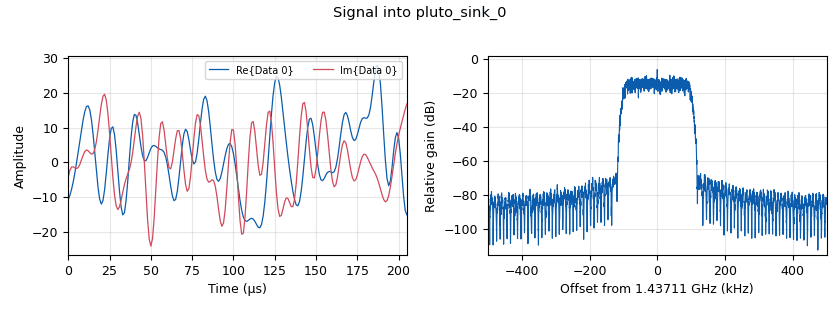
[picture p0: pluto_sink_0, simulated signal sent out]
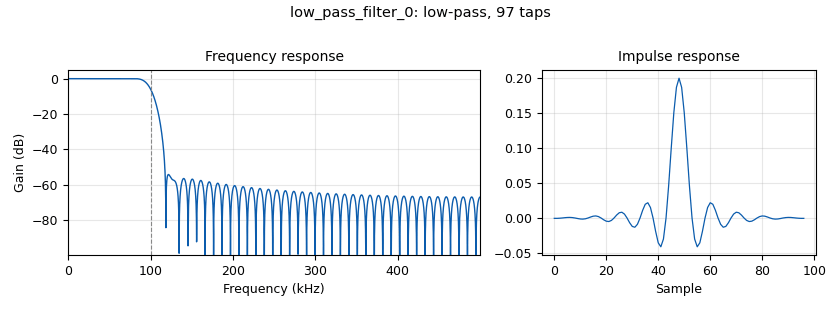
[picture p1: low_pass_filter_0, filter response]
<?xml version='1.0' encoding='utf-8'?>
<?grc format='1' created='3.7.13'?>
<flow_graph>
<block>
<key>options</key>
<param><key>id</key><value>NsfTest</value></param>
<param><key>author</key><value>Glen Langston</value></param>
<param><key>description</key><value>Diagnostic test design</value></param>
<param><key>generate_options</key><value>qt_gui</value></param>
<param><key>title</key><value>Test Signal.  Adds a tone in 1 MHz band</value></param>
</block>
<block>
<key>variable_qtgui_entry</key>
<param><key>id</key><value>Attn1</value></param>
<param><key>value</key><value>80</value></param>
<param><key>gui_hint</key><value>1,0,1,2</value></param>
<param><key>label</key><value>Attn1</value></param>
<param><key>type</key><value>real</value></param>
</block>
<block>
<key>variable</key>
<param><key>id</key><value>Bandwidth</value></param>
<param><key>value</key><value>1.e6</value></param>
</block>
<block>
<key>variable_qtgui_entry</key>
<param><key>id</key><value>FreqMHz</value></param>
<param><key>value</key><value>1437</value></param>
<param><key>gui_hint</key><value>0,2,1,2</value></param>
<param><key>label</key><value>Freq (MHz)</value></param>
<param><key>type</key><value>real</value></param>
</block>
<block>
<key>variable</key>
<param><key>id</key><value>Frequency</value></param>
<param><key>value</key><value>FreqMHz*1.E6</value></param>
</block>
<block>
<key>variable_qtgui_entry</key>
<param><key>id</key><value>Gain1</value></param>
<param><key>value</key><value>75</value></param>
<param><key>gui_hint</key><value>0,0,1,2</value></param>
<param><key>label</key><value>Gain1</value></param>
<param><key>type</key><value>real</value></param>
</block>
<block>
<key>variable</key>
<param><key>id</key><value>H1</value></param>
<param><key>value</key><value>1420.406E6</value></param>
</block>
<block>
<key>variable</key>
<param><key>id</key><value>Offset</value></param>
<param><key>value</key><value>OffsetMHz*1.E6</value></param>
</block>
<block>
<key>variable_qtgui_entry</key>
<param><key>id</key><value>OffsetMHz</value></param>
<param><key>value</key><value>0.111</value></param>
<param><key>gui_hint</key><value>1,2,1,2</value></param>
<param><key>label</key><value>OffsetMHz)</value></param>
<param><key>type</key><value>real</value></param>
</block>
<block>
<key>variable</key>
<param><key>id</key><value>fftsize</value></param>
<param><key>value</key><value>1024</value></param>
</block>
<block>
<key>variable</key>
<param><key>id</key><value>samp_rate</value></param>
<param><key>value</key><value>int(Bandwidth)</value></param>
</block>
<block>
<key>analog_noise_source_x</key>
<param><key>id</key><value>analog_noise_source_x_0</value></param>
<param><key>amp</key><value>30</value></param>
<param><key>noise_type</key><value>analog.GR_GAUSSIAN</value></param>
<param><key>type</key><value>complex</value></param>
<param><key>seed</key><value>0</value></param>
</block>
<block>
<key>blocks_add_const_vxx</key>
<param><key>id</key><value>blocks_add_const_vxx_0</value></param>
<param><key>const</key><value>1</value></param>
<param><key>type</key><value>complex</value></param>
</block>
<block>
<key>blocks_complex_to_float</key>
<param><key>id</key><value>blocks_complex_to_float_0</value></param>
</block>
<block>
<key>blocks_complex_to_mag</key>
<param><key>id</key><value>blocks_complex_to_mag_0</value></param>
<param><key>vlen</key><value>fftsize</value></param>
</block>
<block>
<key>blocks_stream_to_vector</key>
<param><key>id</key><value>blocks_stream_to_vector_0_0</value></param>
<param><key>type</key><value>complex</value></param>
<param><key>num_items</key><value>fftsize</value></param>
</block>
<block>
<key>fft_vxx</key>
<param><key>id</key><value>fft_vxx_0</value></param>
<param><key>fft_size</key><value>fftsize</value></param>
<param><key>forward</key><value>True</value></param>
<param><key>type</key><value>complex</value></param>
<param><key>shift</key><value>True</value></param>
<param><key>window</key><value>window.hamming(fftsize)</value></param>
</block>
<block>
<key>low_pass_filter</key>
<param><key>id</key><value>low_pass_filter_0</value></param>
<param><key>cutoff_freq</key><value>.1E6</value></param>
<param><key>decim</key><value>1</value></param>
<param><key>type</key><value>fir_filter_ccf</value></param>
<param><key>gain</key><value>1</value></param>
<param><key>samp_rate</key><value>Bandwidth</value></param>
<param><key>width</key><value>.025E6</value></param>
<param><key>win</key><value>firdes.WIN_HAMMING</value></param>
</block>
<block>
<key>pluto_sink</key>
<param><key>id</key><value>pluto_sink_0</value></param>
<param><key>attenuation</key><value>float(Attn1)</value></param>
<param><key>buffer_size</key><value>0x8000</value></param>
<param><key>cyclic</key><value>False</value></param>
<param><key>auto_filter</key><value>True</value></param>
<param><key>filter</key><value></value></param>
<param><key>uri</key><value></value></param>
<param><key>frequency</key><value>float(Frequency+Offset)</value></param>
<param><key>bandwidth</key><value>20000000</value></param>
<param><key>samplerate</key><value>float(Bandwidth)</value></param>
</block>
<block>
<key>pluto_source</key>
<param><key>id</key><value>pluto_source_0</value></param>
<param><key>bbdc</key><value>True</value></param>
<param><key>buffer_size</key><value>0x8000</value></param>
<param><key>uri</key><value>192.168.2.1</value></param>
<param><key>auto_filter</key><value>True</value></param>
<param><key>filter</key><value></value></param>
<param><key>gain</key><value>"manual"</value></param>
<param><key>frequency</key><value>int(Frequency)</value></param>
<param><key>manual_gain</key><value>float(Gain1)</value></param>
<param><key>quadrature</key><value>False</value></param>
<param><key>rfdc</key><value>False</value></param>
<param><key>bandwidth</key><value>20000000</value></param>
<param><key>samplerate</key><value>int(Bandwidth)</value></param>
</block>
<block>
<key>qtgui_histogram_sink_x</key>
<param><key>id</key><value>qtgui_histogram_sink_x_0</value></param>
<param><key>gui_hint</key><value>2,0,3,2</value></param>
<param><key>label1</key><value>I</value></param>
<param><key>label2</key><value>Q</value></param>
<param><key>xmax</key><value>.4</value></param>
<param><key>xmin</key><value>-.4</value></param>
<param><key>bins</key><value>100</value></param>
<param><key>nconnections</key><value>2</value></param>
<param><key>size</key><value>fftsize</value></param>
<param><key>type</key><value>float</value></param>
<param><key>update_time</key><value>1.</value></param>
</block>
<block>
<key>qtgui_vector_sink_f</key>
<param><key>id</key><value>qtgui_vector_sink_f_0_0</value></param>
<param><key>average</key><value>0.05</value></param>
<param><key>gui_hint</key><value>2,2,4,3</value></param>
<param><key>alpha1</key><value>2.</value></param>
<param><key>color1</key><value>"black"</value></param>
<param><key>label1</key><value>Latest</value></param>
<param><key>showports</key><value>True</value></param>
<param><key>update_time</key><value>.5</value></param>
<param><key>vlen</key><value>fftsize</value></param>
<param><key>x_axis_label</key><value>"Frequency (MHz)"</value></param>
<param><key>x_start</key><value>float(Frequency-(Bandwidth/2.))*1.e-6</value></param>
<param><key>x_step</key><value>float(Bandwidth*1.e-6/fftsize)</value></param>
<param><key>ymax</key><value>1.</value></param>
<param><key>ymin</key><value>0</value></param>
<param><key>y_axis_label</key><value>Intensity</value></param>
</block>
<block>
<key>radio_astro_vmedian</key>
<param><key>id</key><value>radio_astro_vmedian_0</value></param>
<param><key>vlen</key><value>fftsize</value></param>
<param><key>vdecimate</key><value>4</value></param>
</block>
<block>
<key>radio_astro_vmedian</key>
<param><key>id</key><value>radio_astro_vmedian_0_0</value></param>
<param><key>vlen</key><value>fftsize</value></param>
<param><key>vdecimate</key><value>4</value></param>
</block>
<block>
<key>radio_astro_vmedian</key>
<param><key>id</key><value>radio_astro_vmedian_0_2</value></param>
<param><key>vlen</key><value>fftsize</value></param>
<param><key>vdecimate</key><value>4</value></param>
</block>
<block>
<key>radio_astro_vmedian</key>
<param><key>id</key><value>radio_astro_vmedian_0_2_0</value></param>
<param><key>vlen</key><value>fftsize</value></param>
<param><key>vdecimate</key><value>4</value></param>
</block>
<connection><source_block_id>analog_noise_source_x_0</source_block_id><sink_block_id>low_pass_filter_0</sink_block_id><source_key>0</source_key><sink_key>0</sink_key></connection>
<connection><source_block_id>blocks_add_const_vxx_0</source_block_id><sink_block_id>pluto_sink_0</sink_block_id><source_key>0</source_key><sink_key>0</sink_key></connection>
<connection><source_block_id>blocks_complex_to_float_0</source_block_id><sink_block_id>qtgui_histogram_sink_x_0</sink_block_id><source_key>1</source_key><sink_key>1</sink_key></connection>
<connection><source_block_id>blocks_complex_to_float_0</source_block_id><sink_block_id>qtgui_histogram_sink_x_0</sink_block_id><source_key>0</source_key><sink_key>0</sink_key></connection>
<connection><source_block_id>blocks_complex_to_mag_0</source_block_id><sink_block_id>radio_astro_vmedian_0_2</sink_block_id><source_key>0</source_key><sink_key>0</sink_key></connection>
<connection><source_block_id>blocks_stream_to_vector_0_0</source_block_id><sink_block_id>fft_vxx_0</sink_block_id><source_key>0</source_key><sink_key>0</sink_key></connection>
<connection><source_block_id>fft_vxx_0</source_block_id><sink_block_id>blocks_complex_to_mag_0</sink_block_id><source_key>0</source_key><sink_key>0</sink_key></connection>
<connection><source_block_id>low_pass_filter_0</source_block_id><sink_block_id>blocks_add_const_vxx_0</sink_block_id><source_key>0</source_key><sink_key>0</sink_key></connection>
<connection><source_block_id>pluto_source_0</source_block_id><sink_block_id>blocks_complex_to_float_0</sink_block_id><source_key>0</source_key><sink_key>0</sink_key></connection>
<connection><source_block_id>pluto_source_0</source_block_id><sink_block_id>blocks_stream_to_vector_0_0</sink_block_id><source_key>0</source_key><sink_key>0</sink_key></connection>
<connection><source_block_id>radio_astro_vmedian_0</source_block_id><sink_block_id>qtgui_vector_sink_f_0_0</sink_block_id><source_key>0</source_key><sink_key>0</sink_key></connection>
<connection><source_block_id>radio_astro_vmedian_0_0</source_block_id><sink_block_id>radio_astro_vmedian_0</sink_block_id><source_key>0</source_key><sink_key>0</sink_key></connection>
<connection><source_block_id>radio_astro_vmedian_0_2</source_block_id><sink_block_id>radio_astro_vmedian_0_2_0</sink_block_id><source_key>0</source_key><sink_key>0</sink_key></connection>
<connection><source_block_id>radio_astro_vmedian_0_2_0</source_block_id><sink_block_id>radio_astro_vmedian_0_0</sink_block_id><source_key>0</source_key><sink_key>0</sink_key></connection>
</flow_graph>
